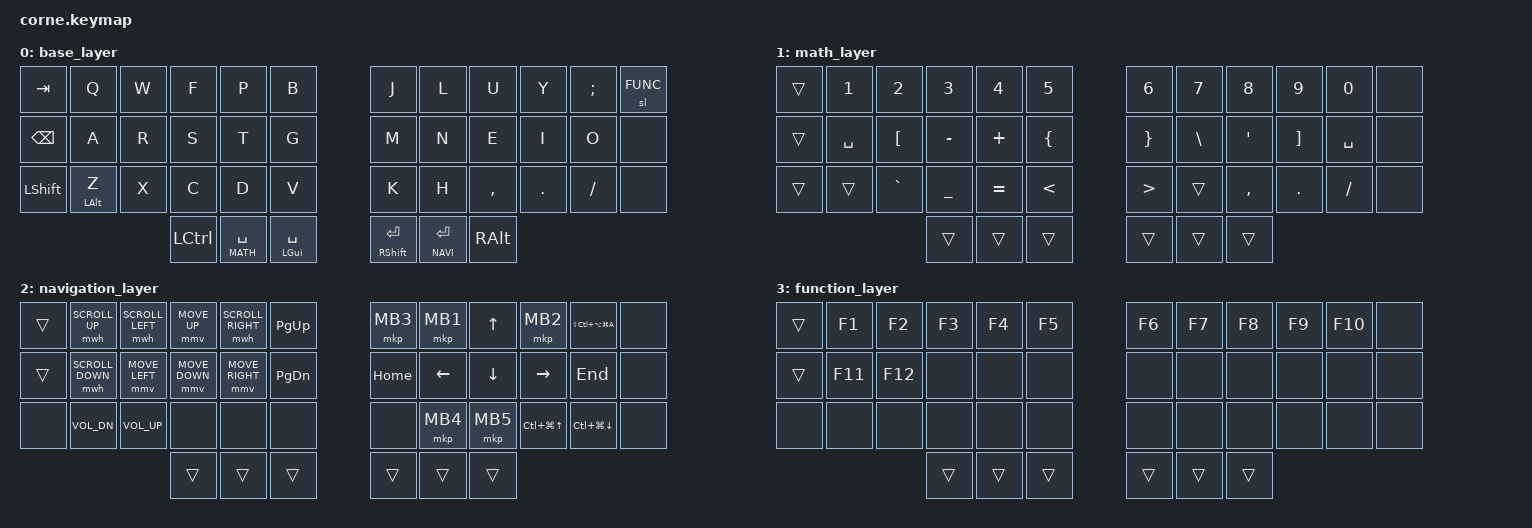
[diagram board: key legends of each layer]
 /*
 * Copyright (c) 2020 The ZMK Contributors
 *
 * SPDX-License-Identifier: MIT
 */

#include <behaviors.dtsi>
#include <dt-bindings/zmk/keys.h>
#include <dt-bindings/zmk/bt.h>
#include <dt-bindings/zmk/mouse.h>

// Layer defines
#define BASE 0
#define MATH 1
#define NAVI 2
#define FUNC 3

// Special button defines
#define SWAUDIO LS(LC(LA(LG(A))))	//Switches audio source (in conjunction with custom shortcut script)
#define WSPCUP LC(LG(UP))		//Move up a workspace (in conjunction with custom GNOME shortcut)
#define WSPCDN LC(LG(DOWN))		//Move down a workspace (in conjunction with custom GNOME shortcut)

/ {
	combos {
		compatible = "zmk,combos";
        
		combo_esc {
			timeout-ms = <50>;
			key-positions = <1 2>;
			bindings = <&kp ESC>;
			layers = <0>;
        	};
        
        	combo_delete {
			timeout-ms = <50>;
			key-positions = <25 28>;
			bindings = <&kp DEL>;
		};
		
		// Presses LCTRL and LALT together, to de-bind keyboard from virtual machine (default kvm binding)
		combo_LCTRL_LALT {
			timeout-ms = <50>;
			key-positions = <19 20 21 22>;
			bindings = <&kp LC(LALT)>;
			layers = <0>;
		};
		
		combo_sleep {
			timeout-ms = <50>;
			key-positions = <7 8 9 10>;
			bindings = <&kp C_SLEEP>;
			layers = <0>;
		};
	};
	
	behaviours {
		hp: hold_preferred {
			compatible = "zmk,behavior-hold-tap";
			label = "HOLD_PREFERRED";
			#binding-cells = <2>;
			tapping-term-ms = <150>;
			quick_tap_ms = <200>;
			flavor = "hold-preferred";
			bindings = <&kp>, <&kp>;
		};
		
		zlt: zaglim_layer_tap {			//Designed for when tap is rarely desired
			compatible = "zmk,behavior-hold-tap";
			label = "ZAGLIM_LAYER_TAP";
			#binding-cells = <2>;
			tapping-term-ms = <25>;
			quick_tap_ms = <0>;
			flavor = "hold-preferred";
			bindings = <&mo>, <&kp>;
		};
		
		
	};
 

	keymap {
		compatible = "zmk,keymap";
		
		base_layer {
			bindings = <
	&kp TAB		&kp Q		&kp W		&kp F		&kp P		&kp B					&kp J		&kp L		&kp U		&kp Y		&kp SEMI	&sl FUNC
	&kp BSPC	&kp A		&kp R		&kp S		&kp T		&kp G					&kp M		&kp N		&kp E		&kp I		&kp O		&none
	&kp LSHIFT	&hp LALT Z	&kp X		&kp C		&kp D		&kp V					&kp K		&kp H		&kp COMMA	&kp DOT		&kp FSLH	&none
								&kp LCTRL	&zlt MATH SPC	&mt LGUI SPC		&hp RSHIFT RET &zlt NAVI RET	&kp RALT
			>;
		};
		
		math_layer {
			bindings = <
	&trans		&kp N1		&kp N2		&kp N3		&kp N4		&kp N5					&kp N6		&kp N7		&kp N8		&kp N9		&kp N0		&none
	&trans		&kp SPC		&kp LBKT	&kp MINUS	&kp PLUS	&kp LBRC				&kp RBRC	&kp BSLH	&kp APOS	&kp RBKT 	&kp SPC		&none
	&trans		&trans		&kp GRAVE	&kp UNDER	&kp EQUAL	&kp LT					&kp GT		&trans		&kp COMMA	&kp DOT		&kp FSLH	&none
								&trans		&trans		&trans			&trans		&trans		&trans
			>;
		};
		
		navigation_layer {
			bindings = <
	&trans		&mwh SCROLL_UP	&mwh SCROLL_LEFT &mmv MOVE_UP	&mwh SCROLL_RIGHT &kp PAGE_UP				&mkp MB3	&mkp MB1	&kp UP		&mkp MB2	&kp SWAUDIO	&none
	&trans		&mwh SCROLL_DOWN &mmv MOVE_LEFT	&mmv MOVE_DOWN	&mmv MOVE_RIGHT	&kp PAGE_DOWN				&kp HOME	&kp LEFT	&kp DOWN	&kp RIGHT	&kp END		&none
	&none		&kp C_VOL_DN	&kp C_VOL_UP	&none		&none		&none					&none		&mkp MB4	&mkp MB5	&kp WSPCUP	&kp WSPCDN	&none
								&trans		&trans		&trans			&trans		&trans		&trans
			>;
		};
		
		function_layer {
			bindings = <
	&trans		&kp F1		&kp F2		&kp F3		&kp F4		&kp F5					&kp F6		&kp F7		&kp F8		&kp F9		&kp F10		&none
	&trans		&kp F11		&kp F12		&none		&none		&none					&none		&none		&none		&none		&none		&none
	&none		&none		&none		&none		&none		&none					&none		&none		&none		&none		&none		&none
								&trans		&trans		&trans			&trans		&trans		&trans
			>;
		
		};
	};
};
